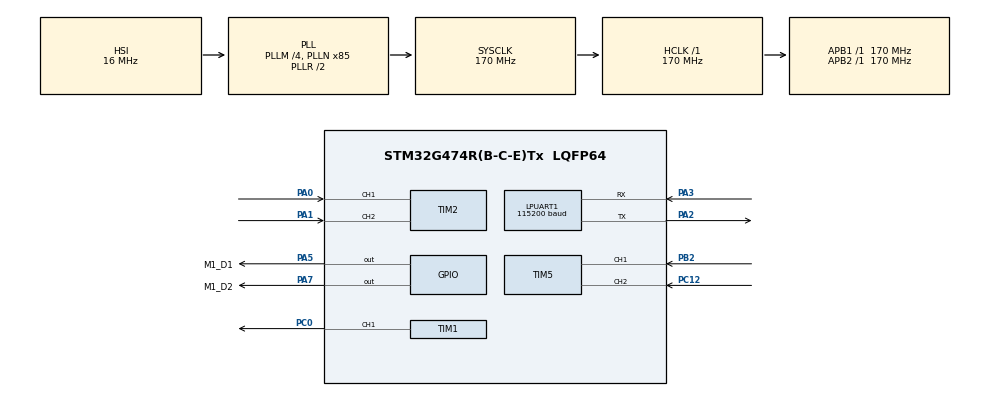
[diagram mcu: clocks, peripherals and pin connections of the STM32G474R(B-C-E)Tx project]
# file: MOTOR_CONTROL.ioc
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Dma.LPUART1_RX.1.Direction=DMA_PERIPH_TO_MEMORY
Dma.LPUART1_RX.1.EventEnable=DISABLE
Dma.LPUART1_RX.1.Instance=DMA1_Channel2
Dma.LPUART1_RX.1.MemDataAlignment=DMA_MDATAALIGN_BYTE
Dma.LPUART1_RX.1.MemInc=DMA_MINC_ENABLE
Dma.LPUART1_RX.1.Mode=DMA_NORMAL
Dma.LPUART1_RX.1.PeriphDataAlignment=DMA_PDATAALIGN_BYTE
Dma.LPUART1_RX.1.PeriphInc=DMA_PINC_DISABLE
Dma.LPUART1_RX.1.Polarity=HAL_DMAMUX_REQ_GEN_RISING
Dma.LPUART1_RX.1.Priority=DMA_PRIORITY_HIGH
Dma.LPUART1_RX.1.RequestNumber=1
Dma.LPUART1_RX.1.SignalID=NONE
Dma.LPUART1_RX.1.SyncEnable=DISABLE
Dma.LPUART1_RX.1.SyncPolarity=HAL_DMAMUX_SYNC_NO_EVENT
Dma.LPUART1_RX.1.SyncRequestNumber=1
Dma.LPUART1_RX.1.SyncSignalID=NONE
Dma.LPUART1_TX.0.Direction=DMA_MEMORY_TO_PERIPH
Dma.LPUART1_TX.0.EventEnable=DISABLE
Dma.LPUART1_TX.0.Instance=DMA1_Channel1
Dma.LPUART1_TX.0.MemDataAlignment=DMA_MDATAALIGN_BYTE
Dma.LPUART1_TX.0.MemInc=DMA_MINC_ENABLE
Dma.LPUART1_TX.0.Mode=DMA_NORMAL
Dma.LPUART1_TX.0.PeriphDataAlignment=DMA_PDATAALIGN_BYTE
Dma.LPUART1_TX.0.PeriphInc=DMA_PINC_DISABLE
Dma.LPUART1_TX.0.Polarity=HAL_DMAMUX_REQ_GEN_RISING
Dma.LPUART1_TX.0.Priority=DMA_PRIORITY_MEDIUM
Dma.LPUART1_TX.0.RequestNumber=1
Dma.LPUART1_TX.0.SignalID=NONE
Dma.LPUART1_TX.0.SyncEnable=DISABLE
Dma.LPUART1_TX.0.SyncPolarity=HAL_DMAMUX_SYNC_NO_EVENT
Dma.LPUART1_TX.0.SyncRequestNumber=1
Dma.LPUART1_TX.0.SyncSignalID=NONE
Dma.Request0=LPUART1_TX
Dma.Request1=LPUART1_RX
LPUART1.BaudRate=115200
LPUART1.FIFOMode=UART_FIFOMODE_ENABLE
Mcu.Family=STM32G4
Mcu.Name=STM32G474R(B-C-E)Tx
Mcu.Package=LQFP64
NUCLEO-G474RE.BUTTON=0
NUCLEO-G474RE.LD2=false
NUCLEO-G474RE.VCP=false
NVIC.DMA1_Channel1_IRQn=true\:2\:0\:true\:false\:true\:false\:true\:true
NVIC.DMA1_Channel2_IRQn=true\:1\:0\:true\:false\:true\:false\:true\:true
NVIC.LPUART1_IRQn=true\:1\:0\:true\:false\:true\:true\:true\:true
NVIC.PriorityGroup=NVIC_PRIORITYGROUP_4
NVIC.TIM3_IRQn=true\:0\:0\:false\:false\:true\:true\:true\:true
NVIC.TIM6_DAC_IRQn=true\:0\:0\:false\:false\:true\:true\:true\:true
PA0.GPIO_PuPd=GPIO_PULLUP
PA0.Signal=S_TIM2_CH1
PA1.GPIO_PuPd=GPIO_PULLUP
PA1.Signal=S_TIM2_CH2
PA13.GPIO_Label=T_SWDIO
PA13.Mode=Serial_Wire
PA13.Signal=SYS_JTMS-SWDIO
PA14.GPIO_Label=T_SWCLK
PA14.Mode=Serial_Wire
PA14.Signal=SYS_JTCK-SWCLK
PA2.Mode=Asynchronous
PA2.Signal=LPUART1_TX
PA3.Mode=Asynchronous
PA3.Signal=LPUART1_RX
PA5.GPIO_Label=M1_D1
PA5.Signal=GPIO_Output
PA7.GPIO_Label=M1_D2
PA7.Signal=GPIO_Output
PB2.Signal=S_TIM5_CH1
PB3.GPIO_Label=T_SWO
PB3.Signal=SYS_JTDO-SWO
PC0.Signal=S_TIM1_CH1
PC12.Signal=S_TIM5_CH2
PC14-OSC32_IN.GPIO_Label=RCC_OSC32_IN
PC14-OSC32_IN.Signal=RCC_OSC32_IN
PC15-OSC32_OUT.GPIO_Label=RCC_OSC32_OUT
PC15-OSC32_OUT.Signal=RCC_OSC32_OUT
PF0-OSC_IN.GPIO_Label=RCC_OSC_IN
PF0-OSC_IN.Mode=HSE-External-Oscillator
PF0-OSC_IN.Signal=RCC_OSC_IN
PF1-OSC_OUT.GPIO_Label=RCC_OSC_OUT
PF1-OSC_OUT.Mode=HSE-External-Oscillator
PF1-OSC_OUT.Signal=RCC_OSC_OUT
ProjectManager.HeapSize=0x200
ProjectManager.StackSize=0x400
ProjectManager.TargetToolchain=STM32CubeIDE
RCC.ADC12Freq_Value=170000000
RCC.ADC345Freq_Value=170000000
RCC.AHBFreq_Value=170000000
RCC.APB1Freq_Value=170000000
RCC.APB1TimFreq_Value=170000000
RCC.APB2Freq_Value=170000000
RCC.APB2TimFreq_Value=170000000
RCC.CortexFreq_Value=170000000
RCC.EXTERNAL_CLOCK_VALUE=12288000
RCC.HCLKFreq_Value=170000000
RCC.HSE_VALUE=24000000
RCC.HSI48_VALUE=48000000
RCC.HSI_VALUE=16000000
RCC.LSE_VALUE=32768
RCC.PLLM=RCC_PLLM_DIV4
RCC.PLLN=85
RCC.RTCClockSelection=RCC_RTCCLKSOURCE_LSE
RCC.SYSCLKFreq_VALUE=170000000
RCC.SYSCLKSource=RCC_SYSCLKSOURCE_PLLCLK
RCC.USBFreq_Value=170000000
RCC.VCOOutputFreq_Value=340000000
SH.S_TIM1_CH1.0=TIM1_CH1,PWM Generation1 CH1
SH.S_TIM2_CH1.0=TIM2_CH1,Encoder_Interface
SH.S_TIM2_CH2.0=TIM2_CH2,Encoder_Interface
SH.S_TIM5_CH1.0=TIM5_CH1,Encoder_Interface
SH.S_TIM5_CH2.0=TIM5_CH2,Encoder_Interface
TIM1.Channel-PWM\ Generation1\ CH1=TIM_CHANNEL_1
TIM1.PeriodNoDither=255
TIM1.Prescaler=32
TIM2.EncoderMode=TIM_ENCODERMODE_TI12
TIM2.IC1Filter=10
TIM2.IC2Filter=10
TIM2.TIM_MasterOutputTrigger=TIM_TRGO_ENCODER_CLK
TIM2.TIM_MasterSlaveMode=TIM_MASTERSLAVEMODE_ENABLE
TIM3.Prescaler=49
TIM6.PeriodNoDither=4999
TIM6.Prescaler=1699
VP_NUCLEO-G474RE_VS_BSP_COMMON.Mode=COMMON
VP_SYS_VS_DBSignals.Mode=DisableDeadBatterySignals
VP_TIM1_VS_ClockSourceINT.Mode=Internal
VP_TIM3_VS_ClockSourceINT.Mode=Internal
VP_TIM3_VS_ClockSourceITR.Mode=TriggerSource_ITR1
VP_TIM3_VS_ControllerModeTrigger.Mode=Trigger Mode
VP_TIM6_VS_ClockSourceINT.Mode=Enable_Timer
board=NUCLEO-G474RE

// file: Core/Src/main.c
/* USER CODE BEGIN Header */
/**
  ******************************************************************************
  * @file           : main.c
  * @brief          : Main program body
  ******************************************************************************
  * @attention
  *
  * Copyright (c) 2026 STMicroelectronics.
  * All rights reserved.
  *
  * This software is licensed under terms that can be found in the LICENSE file
  * in the root directory of this software component.
  * If no LICENSE file comes with this software, it is provided AS-IS.
  *
  ******************************************************************************
  */
/* USER CODE END Header */
#include "main.h"
#include "dma.h"
#include "usart.h"
#include "tim.h"
#include "gpio.h"

/* USER CODE BEGIN Includes */
#include <string.h>
#include <stdbool.h>
#include "app.h"
#include "reader.h"
/* USER CODE END Includes */

/* USER CODE BEGIN PV */
static uint8_t dma_buf[RX_BUF_SIZE];
static char read_buf[RX_BUF_SIZE];
static char telemetry_buf[TELEMETRY_BUF_SIZE];
static char app_reply_buf[APP_REPLY_BUF_SIZE];
static volatile uint16_t received_len = 0;
static volatile bool rxDataReady = false;
static volatile bool uart_hdmarx_locked = false;
static volatile bool need_rearm = false;
static uint16_t rearm_retries = 0;
static const uint16_t max_rearm_retries = 100;
static const char * const uart_rearm_stuck = "UART DMA rearm stuck\n";
static volatile bool send_telemetry = false;
static uint32_t uartSilenceStart = 0;

/* USER CODE END PV */

void SystemClock_Config(void);
/* USER CODE BEGIN PFP */
static void unlock_uart_hdma();
static void init_debugmcu();
static void rearm_uart_dma_rx();
void debug_print_str(const char *msg);
/* USER CODE END PFP */

/* USER CODE BEGIN 0 */
void HAL_UART_ErrorCallback(UART_HandleTypeDef *huart)
{
	if (huart->Instance != LPUART1)
		return;

	if ((huart->ErrorCode & HAL_UART_ERROR_ORE) != 0 && huart->hdmarx->Lock == HAL_LOCKED)
		uart_hdmarx_locked = true;
	else
		need_rearm = true;
}

void HAL_UARTEx_RxEventCallback(UART_HandleTypeDef *huart, uint16_t Size)
{
	if (huart->Instance != LPUART1)
		return;

	if (HAL_UARTEx_GetRxEventType(huart) == HAL_UART_RXEVENT_HT)
		return;

	memcpy(read_buf, dma_buf, Size);
	received_len = Size;
	rxDataReady = true;
}

void HAL_TIM_PeriodElapsedCallback(TIM_HandleTypeDef *htim)
{
	if (htim->Instance == TIM6)
	{
		send_telemetry = true;
		app_do_control_action();
	}
}

void HAL_TIM_TriggerCallback(TIM_HandleTypeDef *htim)
{
	if (htim->Instance == TIM3)
	{
		debug_print_str("trgo received");
	}
}

void HAL_TIM_ErrorCallback(TIM_HandleTypeDef *htim)
{
	if (htim->Instance == TIM3)
	{
		debug_print_str("tim3 error");
	}
}

/* USER CODE END 0 */

int main(void)
{

  /* MCU Configuration--------------------------------------------------------*/

  /* Reset of all peripherals, Initializes the Flash interface and the Systick. */
  HAL_Init();

  /* Configure the system clock */
  SystemClock_Config();

  /* Initialize all configured peripherals */
  MX_GPIO_Init();
  MX_DMA_Init();
  MX_LPUART1_UART_Init();
  MX_TIM2_Init();
  MX_TIM6_Init();
  MX_TIM1_Init();
  MX_TIM3_Init();
  MX_TIM5_Init();
  /* USER CODE BEGIN 2 */
  init_debugmcu();

  app_init();

  HAL_UARTEx_ReceiveToIdle_DMA(&hlpuart1, dma_buf, RX_BUF_SIZE);

  HAL_TIM_Base_Start_IT(&htim6); // PID timer

  HAL_TIM_Base_Start_IT(&htim3); // Encoder 1 slave

  app_init();

  /* USER CODE END 2 */

  /* Infinite loop */
  /* USER CODE BEGIN WHILE */
  while (1)
  {
	uint32_t now = HAL_GetTick();

	if (rxDataReady && hlpuart1.gState == HAL_UART_STATE_READY)
	{
		rxDataReady = false;
		uint16_t reply_len = app_process_command(read_buf, received_len, app_reply_buf);
		if (reply_len > 0)
			HAL_UART_Transmit_DMA(&hlpuart1, (uint8_t *)app_reply_buf, reply_len);

		need_rearm = true;
		uartSilenceStart = now;
	}

	if (!rxDataReady && now - uartSilenceStart >= UART_MAX_SILENCE_DURATION_MS)
	{
		app_do_silence_action();
		uartSilenceStart = now;
	}

	if (send_telemetry && hlpuart1.gState == HAL_UART_STATE_READY)
	{
		send_telemetry = false;
		uint16_t telemetry_len = app_get_telemetry(telemetry_buf, now);
		if (telemetry_len > 0)
			HAL_UART_Transmit_DMA(&hlpuart1, (uint8_t *)telemetry_buf, (uint16_t)telemetry_len);
	}

	if (need_rearm)
		rearm_uart_dma_rx();

	if (uart_hdmarx_locked)
		unlock_uart_hdma();
    /* USER CODE END WHILE */

  }
}

void SystemClock_Config(void)
{
  RCC_OscInitTypeDef RCC_OscInitStruct = {0};
  RCC_ClkInitTypeDef RCC_ClkInitStruct = {0};

  /** Configure the main internal regulator output voltage
  */
  HAL_PWREx_ControlVoltageScaling(PWR_REGULATOR_VOLTAGE_SCALE1_BOOST);

  /** Initializes the RCC Oscillators according to the specified parameters
  * in the RCC_OscInitTypeDef structure.
  */
  RCC_OscInitStruct.OscillatorType = RCC_OSCILLATORTYPE_HSI;
  RCC_OscInitStruct.HSIState = RCC_HSI_ON;
  RCC_OscInitStruct.HSICalibrationValue = RCC_HSICALIBRATION_DEFAULT;
  RCC_OscInitStruct.PLL.PLLState = RCC_PLL_ON;
  RCC_OscInitStruct.PLL.PLLSource = RCC_PLLSOURCE_HSI;
  RCC_OscInitStruct.PLL.PLLM = RCC_PLLM_DIV4;
  RCC_OscInitStruct.PLL.PLLN = 85;
  RCC_OscInitStruct.PLL.PLLP = RCC_PLLP_DIV2;
  RCC_OscInitStruct.PLL.PLLQ = RCC_PLLQ_DIV2;
  RCC_OscInitStruct.PLL.PLLR = RCC_PLLR_DIV2;
  if (HAL_RCC_OscConfig(&RCC_OscInitStruct) != HAL_OK)
  {
    Error_Handler();
  }

  /** Initializes the CPU, AHB and APB buses clocks
  */
  RCC_ClkInitStruct.ClockType = RCC_CLOCKTYPE_HCLK|RCC_CLOCKTYPE_SYSCLK
                              |RCC_CLOCKTYPE_PCLK1|RCC_CLOCKTYPE_PCLK2;
  RCC_ClkInitStruct.SYSCLKSource = RCC_SYSCLKSOURCE_PLLCLK;
  RCC_ClkInitStruct.AHBCLKDivider = RCC_SYSCLK_DIV1;
  RCC_ClkInitStruct.APB1CLKDivider = RCC_HCLK_DIV1;
  RCC_ClkInitStruct.APB2CLKDivider = RCC_HCLK_DIV1;

  if (HAL_RCC_ClockConfig(&RCC_ClkInitStruct, FLASH_LATENCY_4) != HAL_OK)
  {
    Error_Handler();
  }
}

/* USER CODE BEGIN 4 */
static void unlock_uart_hdma()
{
	uart_hdmarx_locked = false;
	reader_reset();
	if (HAL_UART_AbortReceive(&hlpuart1) != HAL_OK)
	{
	    __HAL_UNLOCK(&hlpuart1);
	    if (hlpuart1.hdmarx)
	    {
	        __HAL_UNLOCK(hlpuart1.hdmarx);
	        hlpuart1.hdmarx->State = HAL_DMA_STATE_READY;
	    }
	    hlpuart1.RxState = HAL_UART_STATE_READY;
	}
	need_rearm = true;
}

static void rearm_uart_dma_rx()
{
	need_rearm = false;
    if (hlpuart1.RxState == HAL_UART_STATE_BUSY_RX)
    {
    	return;
    }

	if (HAL_UARTEx_ReceiveToIdle_DMA(&hlpuart1, dma_buf, RX_BUF_SIZE) != HAL_OK)
	{
		if (++rearm_retries >= max_rearm_retries)
		{
			debug_print_str(uart_rearm_stuck);
			rearm_retries = 0;
		}
		need_rearm = true;
	}
	else
	{
		rearm_retries = 0;
	}
}

static void init_debugmcu()
{
	// 1. Включаем тактирование DBGMCU
	SET_BIT(RCC->APB1ENR1, (1UL << 22));

	// 2. Включаем трассировку
	DBGMCU->CR |= 0x00300000;

	// 3. Настраиваем PB3 как SWO (AF0)
	__HAL_RCC_GPIOB_CLK_ENABLE();
	GPIO_InitTypeDef gpio = {0};
	gpio.Pin = GPIO_PIN_3;
	gpio.Mode = GPIO_MODE_AF_PP;
	gpio.Pull = GPIO_NOPULL;
	gpio.Speed = GPIO_SPEED_FREQ_HIGH;
	gpio.Alternate = GPIO_AF0_TRACE;
	HAL_GPIO_Init(GPIOB, &gpio);
}

void debug_print_str(const char *msg)
{
	while (*msg)
		ITM_SendChar(*msg++);
}
/* USER CODE END 4 */

void Error_Handler(void)
{
  __disable_irq();
  while (1)
  {
  }
}
